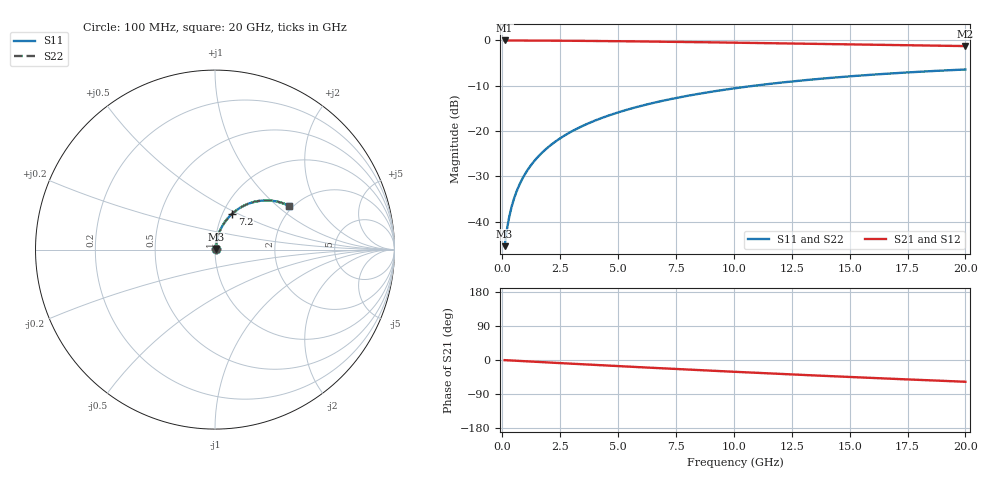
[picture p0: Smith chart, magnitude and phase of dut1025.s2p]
! Touchstone file exported from HFSS 2026.1.0
!  File:  C:/ffzhzh/LocalFiles/Ansys_Project_Files/temp_train_TMRDL_1025_1783159947_55132.aedt
!  Generated:  06:13:47 PM Jul  4, 2026
!  Design:  TMRDL
!  Project:  temp_train_TMRDL_1025_1783159947_55132
! Variables:
!  h_bsmrdl = 2um
!  h_ox = 20um
!  h_rdl = 5um
!  h_sub = 80um
!  h_tmrdl = 5.29um
!  h_tsv = 80um
!  h_via = 3um
!  l_bsmrdl = 300um
!  l_sub = 1318.44um
!  l_tmrdl = 918.44um
!  m_sub = 200um
!  pitch = 40.18um
!  r_tsv = 6um
!  s_tmrdl = 10um
!  w_bsmrdl = 18um
!  w_sub = 500um
!  w_tmrdl = 15.63um
!  x_tsv_center1 = 926.255um
!  x_tsv_center2 = 1244.255um
!  x_tsv_center3 = 2178.325um
!  x_tsv_center4 = 2496.325um
!  x_tsv_center5 = 3430.395um
!  x_tsv_center6 = 3748.395um
# GHz S MA R 50.000000
! Terminal data exported
! Port[1] = TM_RDL1_1_T1
! Port[2] = TM_RDL1_1_T2
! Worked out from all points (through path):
!   200 points, 100 MHz to 20 GHz, reference 50 ohm
!   highest |S21| = -0.03 dB at 100 MHz (marker M1); lowest = -1.3 dB at 20 GHz (marker M2)
!   group delay of S21, straight-line fit = 7.97 ps
!   lowest |S11| = -45.4 dB at 100 MHz (marker M3), VSWR 1.01, Z = 50.4 + j0.361 ohm
!   |S11| at or under -10 dB: start of sweep to 10.9 GHz
!   |S22| runs from -45.4 to -6.4 dB; largest |S21 - S12| = 7.3e-15
!   S11 on the Smith chart (normalised r, x): 100 MHz: 1.01, +0.01; 7.2 GHz: 1.11, +0.47; 20 GHz: 1.89, +1.20
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0.1  0.00539 41.6  0.996 -0.3  0.996 -0.3  0.00539 41.6
! Gamma 0 0 0 0
! Port Impedance 50 0 50 0
0.2  0.008241 58.9  0.9958 -0.7  0.9958 -0.7  0.008241 58.9
0.3  0.01137 66.5  0.9956 -1.0  0.9956 -1.0  0.01137 66.5
0.4  0.01457 70.8  0.9954 -1.3  0.9954 -1.3  0.01457 70.8
0.5  0.0178 73.4  0.9953 -1.7  0.9953 -1.7  0.0178 73.4
0.6  0.02105 75.2  0.9951 -2.0  0.9951 -2.0  0.02105 75.2
0.8  0.02761 77.3  0.9948 -2.7  0.9948 -2.7  0.02761 77.3
1.1  0.03749 78.6  0.9943 -3.6  0.9943 -3.6  0.03749 78.6
1.5  0.05067 78.9  0.9933 -4.9  0.9933 -4.9  0.05067 79.0
1.8  0.06052 78.7  0.9925 -5.9  0.9925 -5.9  0.06052 78.7
2.1  0.0703 78.2  0.9916 -6.9  0.9916 -6.9  0.0703 78.2
2.7  0.08965 76.9  0.9893 -8.8  0.9893 -8.8  0.08965 76.9
3.5  0.1149 74.8  0.9857 -11.4  0.9857 -11.4  0.1149 74.8
4.2  0.1365 72.8  0.9821 -13.6  0.9821 -13.6  0.1365 72.8
5  0.1605 70.5  0.9776 -16.1  0.9776 -16.1  0.1605 70.5
6.8  0.2121 65.4  0.9661 -21.6  0.9661 -21.6  0.2121 65.4
7.2  0.2231 64.2  0.9633 -22.8  0.9633 -22.8  0.2231 64.2
8.6  0.2602 60.3  0.9531 -27.0  0.9531 -27.0  0.2602 60.3
10.1  0.2975 56.1  0.9414 -31.3  0.9414 -31.3  0.2975 56.1
13.4  0.3702 47.2  0.9145 -40.5  0.9145 -40.5  0.3702 47.3
16.7  0.43 38.8  0.8878 -49.2  0.8878 -49.2  0.43 38.9
20  0.4772 30.8  0.8635 -57.4  0.8635 -57.4  0.4772 30.9
